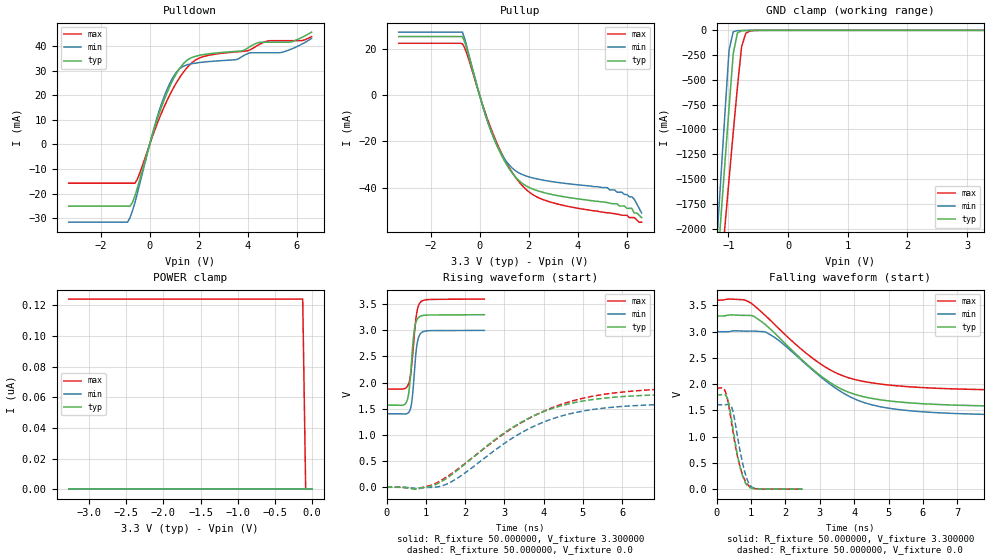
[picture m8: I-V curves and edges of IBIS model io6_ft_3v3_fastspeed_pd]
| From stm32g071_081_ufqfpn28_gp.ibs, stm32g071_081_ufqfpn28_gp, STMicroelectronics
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|   Model io6_ft_3v3_fastspeed_pd
[Model]  io6_ft_3v3_fastspeed_pd
Model_type I/O
Polarity   Non-Inverting
Enable   Active-Low
Vinl =   0.990000V
Vinh =   2.310000V
Vmeas =  1.650000V
Cref =   50.000000pF
Rref =   100.000000M
Vref =   0.0V
C_comp   1.290400pF   1.272500pF   1.305600pF
[Temperature Range]   25.000000   -40.000000   0.125000k
[Pullup Reference]   3.300000V   3.000000V   3.600000V
[Pulldown Reference]   0.0V   0.0V   0.0V
[POWER Clamp Reference]   3.300000V   3.000000V   3.600000V
[GND Clamp Reference]   0.0V   0.0V   0.0V
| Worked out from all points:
|   slope of the pulldown table from 0 to 0.495 V, typ, clamps not added: 31.8 ohm
|   slope of the pullup table from 0 to 0.495 V, typ, clamps not added: 30.4 ohm
|   GND clamp passes 1 mA (typ) near -0.65 V on its own axis
|   rising waveform, R_fixture 50.000000, V_fixture 3.300000: 20-80 % time 115ps typ, 109ps min, 129ps max; typ from 1.57 V to 3.3 V
|   rising waveform, R_fixture 50.000000, V_fixture 0.0: 20-80 % time 2.11ns typ, 2.05ns min, 2.4ns max; typ from 0 V to 1.79 V
|   falling waveform, R_fixture 50.000000, V_fixture 3.300000: 20-80 % time 1.89ns typ, 1.91ns min, 1.95ns max; typ from 3.3 V to 1.57 V
|   falling waveform, R_fixture 50.000000, V_fixture 0.0: 20-80 % time 300ps typ, 289ps min, 332ps max; typ from 1.79 V to 0 V
[Pulldown]
|Voltage   I(typ)   I(min)   I(max)
-3.3V     -25.03mA   -31.54mA   -15.7mA
-900mV    -25.03mA   -31.54mA   -15.7mA
-700mV    -23.48mA   -26.95mA   -15.7mA
-500mV    -17.69mA   -19.75mA   -14.07mA
100mV     3.479mA    3.853mA    2.862mA
500mV     15.71mA    16.96mA    13.17mA
900mV     25.22mA    26.33mA    21.66mA
1.3V      31.91mA    31.32mA    28.29mA
2.2V      36.48mA    33.43mA    35.69mA
4.1V      39.78mA    37.21mA    38.43mA
5.4V      41.49mA    37.39mA    42.11mA
6.6V      45.6mA     43.05mA    43.74mA
[Pullup]
|Voltage   I(typ)   I(min)   I(max)
-3.3V     25.51mA    27.46mA    22.61mA
-700mV    25.51mA    27.46mA    22.41mA
-500mV    19.31mA    20.21mA    17.46mA
100mV     -3.672mA   -3.825mA   -3.371mA
600mV     -19.12mA   -19.15mA   -18.08mA
1.1V      -30.05mA   -28.8mA    -29.38mA
1.7V      -37.83mA   -34.15mA   -38.73mA
2.9V      -42.88mA   -37.32mA   -46.32mA
5.8V      -48mA      -42mA      -52mA
6.2V      -49mA      -44mA      -53mA
6.3V      -51mA      -45mA      -53mA
6.6V      -53mA      -51mA      -55mA
[GND_clamp]
|Voltage   I(typ)   I(min)   I(max)
-3.3V     -9.61A     -9.635A    -9.699A
-1.2V     -2.493A    -2.184A    -2.958A
-1.13V    -1.917A    -1.512A    -2.469A
-1.06V    -1.345A    -845.6mA   -1.983A
-990mV    -779.8mA   -200.2mA   -1.503A
-920mV    -235.6mA   -14.2mA    -1.03A
-850mV    -26.08mA   -3.351mA   -574.2mA
-780mV    -4.512mA   -1.821mA   -166.4mA
-710mV    -1.735mA   -881.8uA   -29.46mA
-640mV    -819.4uA   -295.6uA   -6.294mA
3.28V     86.85uA    64.2uA     109.1uA
[POWER_clamp]
|Voltage   I(typ)   I(min)   I(max)
-3.28V    0A         0A         124nA
-120mV    0A         0A         124nA
-80mV     0A         0A         0A
0V        0A         0A         0A
[Ramp]
| variable   typ   min   max
dV/dt_r  1.07274/2.09608n   0.96030/2.04067n   1.14342/2.37778n
dV/dt_f  1.02906/1.87194n   0.94902/1.89195n   1.02288/1.93068n
R_load = 50.000000
[Rising Waveform]
R_fixture= 50.000000
V_fixture= 3.300000
V_fixture_min= 3.000000
V_fixture_max= 3.600000
|time   V(typ)   V(min)   V(max)
0s        1.57V      1.405V     1.878V
435.4ps   1.573V     1.401V     1.879V
510.5ps   1.633V     1.404V     1.911V
560.6ps   1.776V     1.428V     1.974V
635.6ps   2.385V     1.594V     2.292V
700.7ps   2.966V     2.103V     2.845V
760.8ps   3.178V     2.645V     3.29V
820.8ps   3.25V      2.873V     3.481V
1.031ns   3.291V     2.99V      3.586V
2.492ns   3.299V     2.999V     3.598V
[Rising Waveform]
R_fixture= 50.000000
V_fixture= 0.0
V_fixture_min= 0.0
V_fixture_max= 0.0
|time   V(typ)   V(min)   V(max)
0s        -2.69uV    -2.729uV   15.26uV
780.8ps   -23.27mV   -35.28mV   -32.34mV
1.181ns   31.87mV    -1.493mV   53.02mV
1.481ns   146.6mV    44.78mV    171.9mV
1.902ns   383.2mV    222.4mV    397.1mV
3.263ns   1.168V     966.6mV    1.158V
3.864ns   1.404V     1.203V     1.404V
4.625ns   1.592V     1.396V     1.626V
6.366ns   1.749V     1.562V     1.844V
9.97ns    1.794V     1.606V     1.922V
[Falling Waveform]
R_fixture= 50.000000
V_fixture= 3.300000
V_fixture_min= 3.000000
V_fixture_max= 3.600000
|time   V(typ)   V(min)   V(max)
0s        3.299V     2.999V     3.598V
840.8ps   3.309V     3.01V      3.597V
1.081ns   3.293V     3.01V      3.503V
1.441ns   3.12V      2.986V     3.292V
2.943ns   2.203V     2.184V     2.421V
3.544ns   1.935V     1.887V     2.193V
4.024ns   1.804V     1.715V     2.087V
4.745ns   1.703V     1.572V     2.003V
5.906ns   1.63V      1.477V     1.937V
9.97ns    1.57V      1.405V     1.878V
[Falling Waveform]
R_fixture= 50.000000
V_fixture= 0.0
V_fixture_min= 0.0
V_fixture_max= 0.0
|time   V(typ)   V(min)   V(max)
0s        1.794V     1.606V     1.922V
255.3ps   1.793V     1.608V     1.859V
345.3ps   1.654V     1.617V     1.625V
435.4ps   1.329V     1.567V     1.268V
560.6ps   820.1mV    1.192V     781.2mV
685.7ps   416.9mV    724.6mV    417.9mV
800.8ps   175.2mV    379mV      202.4mV
920.9ps   50.5mV     136.6mV    74.12mV
1.161ns   6.872mV    11.38mV    7.893mV
2.492ns   -2.69uV    -2.729uV   15.26uV
